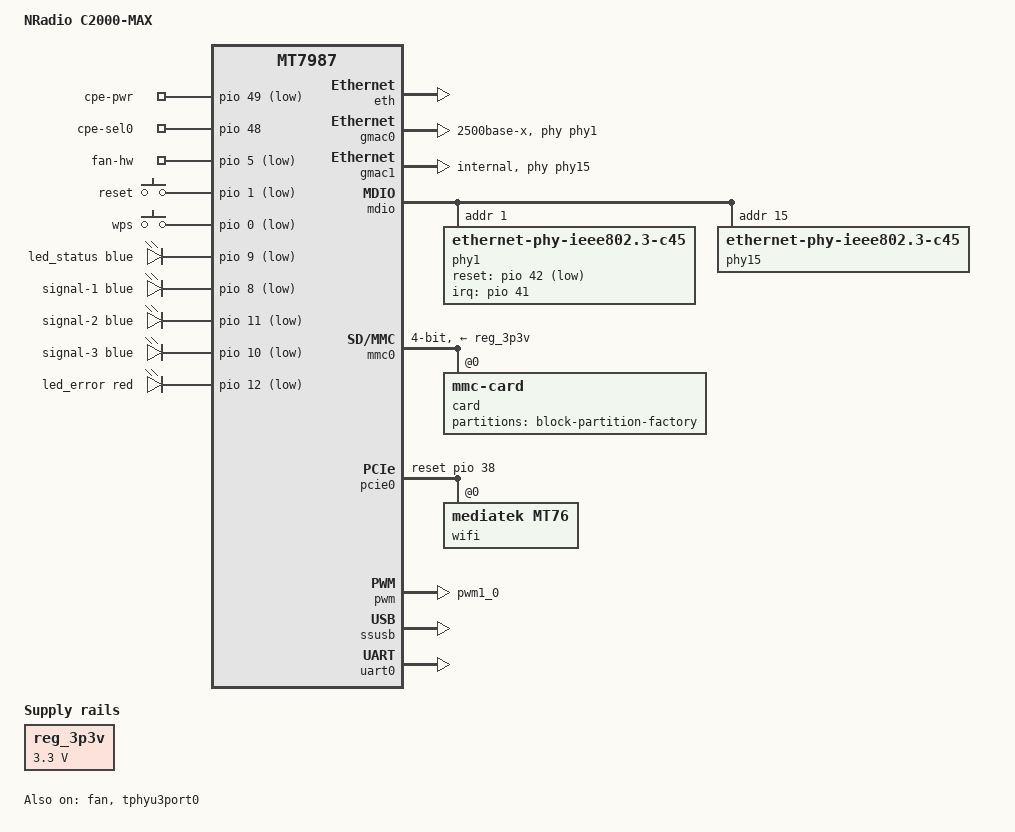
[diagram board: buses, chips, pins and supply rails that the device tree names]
// SPDX-License-Identifier: GPL-2.0-or-later OR MIT

/dts-v1/;

#include "mt7987a.dtsi"

#include <dt-bindings/input/input.h>
#include <dt-bindings/leds/common.h>

/ {
	model = "NRadio C2000-MAX";
	compatible = "nradio,c2000-max",
		     "mediatek,mt7987a",
		     "mediatek,mt7987";

	aliases {
		label-mac-device = &gmac1;
		led-boot = &led_status;
		led-failsafe = &led_error;
		led-running = &led_status;
		led-upgrade = &led_status;
		serial0 = &uart0;
	};

	chosen {
		bootargs = "console=ttyS0,115200n1 earlycon=uart8250,mmio32,0x11000000 pci=pcie_bus_perf root=PARTLABEL=rootfs rootwait rootfstype=squashfs,f2fs";
		stdout-path = "serial0:115200n8";
	};

	gpio-export {
		compatible = "gpio-export";
		#size-cells = <0>;

		cpe-pwr {
			gpio-export,name = "cpe-pwr";
			gpio-export,output = <0>;
			gpios = <&pio 49 GPIO_ACTIVE_LOW>;
		};

		cpe-sel0 {
			gpio-export,name = "cpe-sel0";
			gpio-export,output = <1>;
			gpios = <&pio 48 GPIO_ACTIVE_HIGH>;
		};

		fan-hw {
			gpio-export,name = "fan-hw";
			gpio-export,output = <0>;
			gpios = <&pio 5 GPIO_ACTIVE_LOW>;
		};
	};

	gpio-keys {
		compatible = "gpio-keys";

		reset {
			label = "reset";
			linux,code = <KEY_RESTART>;
			gpios = <&pio 1 GPIO_ACTIVE_LOW>;
			debounce-interval = <10>;
		};

		wps {
			label = "wps";
			linux,code = <KEY_WPS_BUTTON>;
			gpios = <&pio 0 GPIO_ACTIVE_LOW>;
			debounce-interval = <10>;
		};
	};

	gpio-leds {
		compatible = "gpio-leds";

		led_status: status {
			color = <LED_COLOR_ID_BLUE>;
			function = LED_FUNCTION_STATUS;
			gpios = <&pio 9 GPIO_ACTIVE_LOW>;
		};

		signal-1 {
			color = <LED_COLOR_ID_BLUE>;
			function = LED_FUNCTION_INDICATOR;
			function-enumerator = <0>;
			gpios = <&pio 8 GPIO_ACTIVE_LOW>;
		};

		signal-2 {
			color = <LED_COLOR_ID_BLUE>;
			function = LED_FUNCTION_INDICATOR;
			function-enumerator = <1>;
			gpios = <&pio 11 GPIO_ACTIVE_LOW>;
		};

		signal-3 {
			color = <LED_COLOR_ID_BLUE>;
			function = LED_FUNCTION_INDICATOR;
			function-enumerator = <2>;
			gpios = <&pio 10 GPIO_ACTIVE_LOW>;
		};

		led_error: error {
			color = <LED_COLOR_ID_RED>;
			function = LED_FUNCTION_FAULT;
			gpios = <&pio 12 GPIO_ACTIVE_LOW>;
		};
	};

	reg_3p3v: regulator-3p3v {
		compatible = "regulator-fixed";
		regulator-name = "fixed-3.3V";
		regulator-min-microvolt = <3300000>;
		regulator-max-microvolt = <3300000>;
		regulator-boot-on;
		regulator-always-on;
	};
};

&eth {
	status = "okay";
};

&fan {
	pwms = <&pwm 1 50000 0>;
	status = "okay";
};

&gmac0 {
	phy-mode = "2500base-x";
	phy-handle = <&phy1>;
	status = "okay";
};

&gmac1 {
	openwrt,netdev-name = "lan";
	phy-mode = "internal";
	phy-handle = <&phy15>;
	status = "okay";
};

&mdio {
	phy1: phy@1 {
		compatible = "ethernet-phy-ieee802.3-c45";
		reg = <1>;
		reset-gpios = <&pio 42 GPIO_ACTIVE_LOW>;
		reset-assert-us = <100000>;
		reset-deassert-us = <100000>;
		interrupt-parent = <&pio>;
		interrupts = <41 IRQ_TYPE_LEVEL_LOW>;
		realtek,aldps-enable;
	};

	phy15: phy@15 {
		compatible = "ethernet-phy-ieee802.3-c45";
		reg = <15>;
		phy-mode = "internal";
		pinctrl-names = "i2p5gbe-led";
		pinctrl-0 = <&i2p5gbe_led0_pins>;
	};
};

&mmc0 {
	#address-cells = <1>;
	#size-cells = <0>;
	pinctrl-names = "default", "state_uhs";
	pinctrl-0 = <&sd_pins_default>;
	pinctrl-1 = <&sd_pins_uhs>;
	bus-width = <4>;
	max-frequency = <48000000>;
	cap-sd-highspeed;
	vmmc-supply = <&reg_3p3v>;
	vqmmc-supply = <&reg_3p3v>;
	no-mmc;
	no-sdio;
	status = "okay";

	card@0 {
		compatible = "mmc-card";
		reg = <0>;

		block {
			compatible = "block-device";

			partitions {
				block-partition-factory {
					partname = "factory";

					nvmem-layout {
						compatible = "fixed-layout";
						#address-cells = <1>;
						#size-cells = <1>;

						eeprom_factory_0: eeprom@0 {
							reg = <0x0 0x1000>;
						};
					};
				};
			};
		};
	};
};

&pcie0 {
	pinctrl-names = "default";
	pinctrl-0 = <&pcie0_pins>;
	reset-gpios = <&pio 38 GPIO_ACTIVE_HIGH>;
	status = "okay";

	pcie@0,0 {
		reg = <0x0000 0 0 0 0>;
		#address-cells = <3>;
		#size-cells = <2>;

		wifi@0,0 {
			compatible = "mediatek,mt76";
			reg = <0x0000 0 0 0 0>;

			nvmem-cells = <&eeprom_factory_0>;
			nvmem-cell-names = "eeprom";

			ieee80211-freq-limit = <2400000 2500000>,
					       <5170000 5835000>;
		};
	};
};

&pio {
	pwm1_pins: pwm1-pins {
		mux {
			function = "pwm";
			groups = "pwm1_0";
		};
	};
};

&pwm {
	pinctrl-names = "default";
	pinctrl-0 = <&pwm1_pins>;
	status = "okay";
};

&ssusb {
	status = "okay";

	vusb33-supply = <&reg_3p3v>;
};

&tphyu3port0 {
	status = "okay";
};

&uart0 {
	pinctrl-names = "default";
	pinctrl-0 = <&uart0_pins>;
	status = "okay";
};
